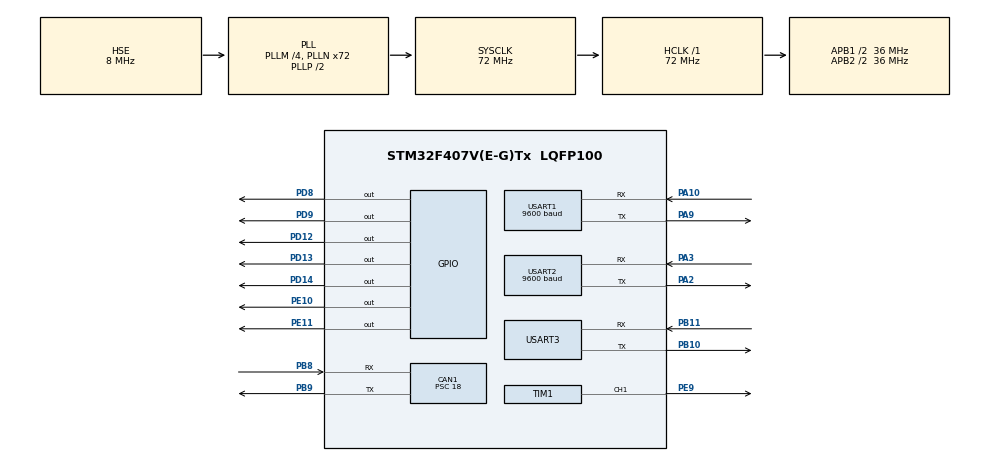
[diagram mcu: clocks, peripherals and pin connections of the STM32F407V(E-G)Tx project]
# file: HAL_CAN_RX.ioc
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CAN1.BS1=CAN_BS1_2TQ
CAN1.CalculateBaudRate=500000
CAN1.CalculateTimeBit=2000
CAN1.CalculateTimeQuantum=500.0
CAN1.Prescaler=18
Mcu.Family=STM32F4
Mcu.Name=STM32F407V(E-G)Tx
Mcu.Package=LQFP100
NVIC.CAN1_RX0_IRQn=true\:0\:0\:false\:false\:true\:true\:true\:true
NVIC.PriorityGroup=NVIC_PRIORITYGROUP_0
PA10.Mode=Asynchronous
PA10.Signal=USART1_RX
PA2.Mode=Asynchronous
PA2.Signal=USART2_TX
PA3.Mode=Asynchronous
PA3.Signal=USART2_RX
PA9.Mode=Asynchronous
PA9.Signal=USART1_TX
PB10.Mode=Asynchronous
PB10.Signal=USART3_TX
PB11.Mode=Asynchronous
PB11.Signal=USART3_RX
PB8.Mode=CAN_Activate
PB8.Signal=CAN1_RX
PB9.Mode=CAN_Activate
PB9.Signal=CAN1_TX
PD12.Signal=GPIO_Output
PD13.Signal=GPIO_Output
PD14.Signal=GPIO_Output
PD8.Signal=GPIO_Output
PD9.Signal=GPIO_Output
PE10.Signal=GPIO_Output
PE11.Signal=GPIO_Output
PE9.Signal=S_TIM1_CH1
PH0-OSC_IN.Mode=HSE-External-Oscillator
PH0-OSC_IN.Signal=RCC_OSC_IN
PH1-OSC_OUT.Mode=HSE-External-Oscillator
PH1-OSC_OUT.Signal=RCC_OSC_OUT
ProjectManager.HeapSize=0x200
ProjectManager.StackSize=0x400
ProjectManager.TargetToolchain=STM32CubeIDE
RCC.48MHZClocksFreq_Value=20571428.57142857
RCC.AHBFreq_Value=72000000
RCC.APB1CLKDivider=RCC_HCLK_DIV2
RCC.APB1Freq_Value=36000000
RCC.APB1TimFreq_Value=72000000
RCC.APB2CLKDivider=RCC_HCLK_DIV2
RCC.APB2Freq_Value=36000000
RCC.APB2TimFreq_Value=72000000
RCC.CortexFreq_Value=72000000
RCC.HCLKFreq_Value=72000000
RCC.HSE_VALUE=8000000
RCC.HSI_VALUE=16000000
RCC.LSE_VALUE=32768
RCC.PLLM=4
RCC.PLLN=72
RCC.PLLQ=7
RCC.PLLSourceVirtual=RCC_PLLSOURCE_HSE
RCC.SYSCLKFreq_VALUE=72000000
RCC.SYSCLKSource=RCC_SYSCLKSOURCE_PLLCLK
RCC.VCOOutputFreq_Value=144000000
SH.S_TIM1_CH1.0=TIM1_CH1,PWM Generation1 CH1
TIM1.AutoReloadPreload=TIM_AUTORELOAD_PRELOAD_ENABLE
TIM1.Channel-PWM\ Generation1\ CH1=TIM_CHANNEL_1
TIM1.Period=100-1
TIM1.Prescaler=16-1
USART1.BaudRate=9600
USART1.VirtualMode=VM_ASYNC
USART2.BaudRate=9600
USART2.VirtualMode=VM_ASYNC
USART3.VirtualMode=VM_ASYNC
board=STM32F407G-DISC1

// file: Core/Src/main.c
/* USER CODE BEGIN Header */
/**
  ******************************************************************************
  * @file           : main.c
  * @brief          : Main program body
  ******************************************************************************
  * @attention
  *
  * Copyright (c) 2026 STMicroelectronics.
  * All rights reserved.
  *
  * This software is licensed under terms that can be found in the LICENSE file
  * in the root directory of this software component.
  * If no LICENSE file comes with this software, it is provided AS-IS.
  *
  ******************************************************************************
  */
/* USER CODE END Header */
#include "main.h"

/* USER CODE BEGIN Includes */
#include<stdio.h>
#include<string.h>
/* USER CODE END Includes */

/* USER CODE BEGIN PD */
#define GPS_BUF_SIZE 128
/* USER CODE END PD */

CAN_HandleTypeDef hcan1;

TIM_HandleTypeDef htim1;

UART_HandleTypeDef huart1;
UART_HandleTypeDef huart2;
UART_HandleTypeDef huart3;

void SystemClock_Config(void);
static void MX_GPIO_Init(void);
static void MX_CAN1_Init(void);
static void MX_TIM1_Init(void);
static void MX_USART2_UART_Init(void);
static void MX_USART3_UART_Init(void);
static void MX_USART1_UART_Init(void);

/* USER CODE BEGIN 0 */
CAN_RxHeaderTypeDef RxHeader;
uint8_t RxData[8];
uint8_t is_data_received;
uint16_t distance;
uint16_t speed;
uint16_t gas;
uint8_t gps_rx;
char gps_buffer[GPS_BUF_SIZE];
uint8_t gps_index = 0;

void HAL_CAN_RxFifo0MsgPendingCallback(CAN_HandleTypeDef *hcan)
{
	if(HAL_CAN_GetRxMessage(hcan, CAN_RX_FIFO0, &RxHeader, RxData) == HAL_OK)
	{
		// process the message
        if (RxHeader.DLC == 5) {
        	is_data_received = 1;
        }
	}
}

/* USER CODE END 0 */

int main(void)
{

  /* USER CODE BEGIN 1 */

	 char str[256];
	 char *str2 = "      >>>>>>>>>>>>>>>>>>>>>>>>> DATA <<<<<<<<<<<<<<<<<<<<<<<<<\r\n";
  /* USER CODE END 1 */

  /* MCU Configuration--------------------------------------------------------*/

  /* Reset of all peripherals, Initializes the Flash interface and the Systick. */
  HAL_Init();

  /* Configure the system clock */
  SystemClock_Config();

  /* Initialize all configured peripherals */
  MX_GPIO_Init();
  MX_CAN1_Init();
  MX_TIM1_Init();
  MX_USART2_UART_Init();
  MX_USART3_UART_Init();
  MX_USART1_UART_Init();
  /* USER CODE BEGIN 2 */
    HAL_CAN_Start(&hcan1);
    HAL_CAN_ActivateNotification(&hcan1, CAN_IT_RX_FIFO0_MSG_PENDING);
    HAL_TIM_PWM_Start(&htim1, TIM_CHANNEL_1);
    HAL_UART_Transmit(&huart2, (uint8_t *)str2, strlen(str2), HAL_MAX_DELAY);
  /* USER CODE END 2 */

  /* Infinite loop */
  while (1)
  {

    /* USER CODE BEGIN 3 */
	   /* GPS Receive always */
	  if (HAL_UART_Receive(&huart1, &gps_rx, 1, 10) == HAL_OK)
	     {
	         gps_buffer[gps_index++] = gps_rx;

	         if (gps_rx == '\n' || gps_index >= GPS_BUF_SIZE-1)
	         {
	             gps_buffer[gps_index] = '\0';

	             // Send GPS to ESP8266 (USART3)
	             sprintf(str, "GPS,%s", gps_buffer);
	             HAL_UART_Transmit(&huart3, (uint8_t*)str, strlen(str), HAL_MAX_DELAY);

	             // Debug on PC
	             HAL_UART_Transmit(&huart2, (uint8_t*)gps_buffer, gps_index, HAL_MAX_DELAY);

	             gps_index = 0;
	         }
	     }

	  if(is_data_received == 1)
	 	 {
	 		 strcpy(str,"------------------------------------------------------------- \r\n");
	 		 HAL_UART_Transmit(&huart2, (uint8_t *)str, strlen(str), HAL_MAX_DELAY);
	           distance = (uint16_t)RxData[0] << 8 | (uint16_t)RxData[1];
	           uint16_t temperature = (uint16_t)RxData[2] << 8 | (uint16_t)RxData[3];
	           uint8_t gas = RxData[4];   // 0 = No gas, 1 = Gas detected

	           sprintf(str, "CAN,%d,%d,%d\n", distance, temperature, gas);
	           HAL_UART_Transmit(&huart3, (uint8_t*)str, strlen(str), HAL_MAX_DELAY);

	           sprintf(str, " Distance : %d cm \r \n", distance);
	       	  HAL_UART_Transmit(&huart2, (uint8_t *)str, strlen(str), HAL_MAX_DELAY);

	       	  sprintf(str, " Temperature : %d degree \r \n", temperature);
	       	  HAL_UART_Transmit(&huart2, (uint8_t *)str, strlen(str), HAL_MAX_DELAY);

	       	if(gas)
	       	    sprintf(str, " Gas Status : GAS DETECTED !!! \r\n");
	       	else
	       	    sprintf(str, " Gas Status : Safe \r\n");

	       	HAL_UART_Transmit(&huart2, (uint8_t *)str, strlen(str), HAL_MAX_DELAY);

	          if(distance <20)
	          {
		          HAL_GPIO_WritePin(GPIOD, GPIO_PIN_12, GPIO_PIN_SET);
	          }
	          else
	          {
		          HAL_GPIO_WritePin(GPIOD, GPIO_PIN_12, GPIO_PIN_RESET);

	          }

	          if(temperature > 100 )
	          {
	        	  HAL_GPIO_WritePin(GPIOD, GPIO_PIN_13, GPIO_PIN_SET);
	          }
	          else
	          {
	        	  HAL_GPIO_WritePin(GPIOD, GPIO_PIN_13,GPIO_PIN_SET);
	          }

           HAL_Delay(500);

  }
  /* USER CODE END 3 */
}

}

void SystemClock_Config(void)
{
  RCC_OscInitTypeDef RCC_OscInitStruct = {0};
  RCC_ClkInitTypeDef RCC_ClkInitStruct = {0};

  /** Configure the main internal regulator output voltage
  */
  __HAL_RCC_PWR_CLK_ENABLE();
  __HAL_PWR_VOLTAGESCALING_CONFIG(PWR_REGULATOR_VOLTAGE_SCALE1);

  /** Initializes the RCC Oscillators according to the specified parameters
  * in the RCC_OscInitTypeDef structure.
  */
  RCC_OscInitStruct.OscillatorType = RCC_OSCILLATORTYPE_HSE;
  RCC_OscInitStruct.HSEState = RCC_HSE_ON;
  RCC_OscInitStruct.PLL.PLLState = RCC_PLL_ON;
  RCC_OscInitStruct.PLL.PLLSource = RCC_PLLSOURCE_HSE;
  RCC_OscInitStruct.PLL.PLLM = 4;
  RCC_OscInitStruct.PLL.PLLN = 72;
  RCC_OscInitStruct.PLL.PLLP = RCC_PLLP_DIV2;
  RCC_OscInitStruct.PLL.PLLQ = 7;
  if (HAL_RCC_OscConfig(&RCC_OscInitStruct) != HAL_OK)
  {
    Error_Handler();
  }

  /** Initializes the CPU, AHB and APB buses clocks
  */
  RCC_ClkInitStruct.ClockType = RCC_CLOCKTYPE_HCLK|RCC_CLOCKTYPE_SYSCLK
                              |RCC_CLOCKTYPE_PCLK1|RCC_CLOCKTYPE_PCLK2;
  RCC_ClkInitStruct.SYSCLKSource = RCC_SYSCLKSOURCE_PLLCLK;
  RCC_ClkInitStruct.AHBCLKDivider = RCC_SYSCLK_DIV1;
  RCC_ClkInitStruct.APB1CLKDivider = RCC_HCLK_DIV2;
  RCC_ClkInitStruct.APB2CLKDivider = RCC_HCLK_DIV2;

  if (HAL_RCC_ClockConfig(&RCC_ClkInitStruct, FLASH_LATENCY_2) != HAL_OK)
  {
    Error_Handler();
  }
}

static void MX_CAN1_Init(void)
{

  hcan1.Instance = CAN1;
  hcan1.Init.Prescaler = 18;
  hcan1.Init.Mode = CAN_MODE_NORMAL;
  hcan1.Init.SyncJumpWidth = CAN_SJW_1TQ;
  hcan1.Init.TimeSeg1 = CAN_BS1_2TQ;
  hcan1.Init.TimeSeg2 = CAN_BS2_1TQ;
  hcan1.Init.TimeTriggeredMode = DISABLE;
  hcan1.Init.AutoBusOff = DISABLE;
  hcan1.Init.AutoWakeUp = DISABLE;
  hcan1.Init.AutoRetransmission = DISABLE;
  hcan1.Init.ReceiveFifoLocked = DISABLE;
  hcan1.Init.TransmitFifoPriority = DISABLE;
  if (HAL_CAN_Init(&hcan1) != HAL_OK)
  {
    Error_Handler();
  }
  /* USER CODE BEGIN CAN1_Init 2 */
  CAN_FilterTypeDef FilterConfig;
   //FilterConfig.SlaveStartFilterBank = 9; // CAN1-0 to 8, CAN2-9 to 27
   FilterConfig.FilterActivation = CAN_FILTER_ENABLE;
   FilterConfig.FilterBank = 0; // Use any Filter from 0 to 8
   FilterConfig.FilterScale = CAN_FILTERSCALE_32BIT; // Use a 32-bit filter
   FilterConfig.FilterMode = CAN_FILTERMODE_IDMASK;
   FilterConfig.FilterMaskIdHigh = 0xFF00;
   FilterConfig.FilterMaskIdLow = 0x0000;
   FilterConfig.FilterIdHigh = 0x1500;
   FilterConfig.FilterIdLow = 0x0000;
   FilterConfig.FilterFIFOAssignment = CAN_RX_FIFO0;

   if(HAL_CAN_ConfigFilter(&hcan1, &FilterConfig) != HAL_OK)
 	  Error_Handler();
  /* USER CODE END CAN1_Init 2 */

}

static void MX_TIM1_Init(void)
{

  TIM_MasterConfigTypeDef sMasterConfig = {0};
  TIM_OC_InitTypeDef sConfigOC = {0};
  TIM_BreakDeadTimeConfigTypeDef sBreakDeadTimeConfig = {0};

  htim1.Instance = TIM1;
  htim1.Init.Prescaler = 16-1;
  htim1.Init.CounterMode = TIM_COUNTERMODE_UP;
  htim1.Init.Period = 100-1;
  htim1.Init.ClockDivision = TIM_CLOCKDIVISION_DIV1;
  htim1.Init.RepetitionCounter = 0;
  htim1.Init.AutoReloadPreload = TIM_AUTORELOAD_PRELOAD_ENABLE;
  if (HAL_TIM_PWM_Init(&htim1) != HAL_OK)
  {
    Error_Handler();
  }
  sMasterConfig.MasterOutputTrigger = TIM_TRGO_RESET;
  sMasterConfig.MasterSlaveMode = TIM_MASTERSLAVEMODE_DISABLE;
  if (HAL_TIMEx_MasterConfigSynchronization(&htim1, &sMasterConfig) != HAL_OK)
  {
    Error_Handler();
  }
  sConfigOC.OCMode = TIM_OCMODE_PWM1;
  sConfigOC.Pulse = 0;
  sConfigOC.OCPolarity = TIM_OCPOLARITY_HIGH;
  sConfigOC.OCNPolarity = TIM_OCNPOLARITY_HIGH;
  sConfigOC.OCFastMode = TIM_OCFAST_DISABLE;
  sConfigOC.OCIdleState = TIM_OCIDLESTATE_RESET;
  sConfigOC.OCNIdleState = TIM_OCNIDLESTATE_RESET;
  if (HAL_TIM_PWM_ConfigChannel(&htim1, &sConfigOC, TIM_CHANNEL_1) != HAL_OK)
  {
    Error_Handler();
  }
  sBreakDeadTimeConfig.OffStateRunMode = TIM_OSSR_DISABLE;
  sBreakDeadTimeConfig.OffStateIDLEMode = TIM_OSSI_DISABLE;
  sBreakDeadTimeConfig.LockLevel = TIM_LOCKLEVEL_OFF;
  sBreakDeadTimeConfig.DeadTime = 0;
  sBreakDeadTimeConfig.BreakState = TIM_BREAK_DISABLE;
  sBreakDeadTimeConfig.BreakPolarity = TIM_BREAKPOLARITY_HIGH;
  sBreakDeadTimeConfig.AutomaticOutput = TIM_AUTOMATICOUTPUT_DISABLE;
  if (HAL_TIMEx_ConfigBreakDeadTime(&htim1, &sBreakDeadTimeConfig) != HAL_OK)
  {
    Error_Handler();
  }
  HAL_TIM_MspPostInit(&htim1);

}

static void MX_USART1_UART_Init(void)
{

  huart1.Instance = USART1;
  huart1.Init.BaudRate = 9600;
  huart1.Init.WordLength = UART_WORDLENGTH_8B;
  huart1.Init.StopBits = UART_STOPBITS_1;
  huart1.Init.Parity = UART_PARITY_NONE;
  huart1.Init.Mode = UART_MODE_TX_RX;
  huart1.Init.HwFlowCtl = UART_HWCONTROL_NONE;
  huart1.Init.OverSampling = UART_OVERSAMPLING_16;
  if (HAL_UART_Init(&huart1) != HAL_OK)
  {
    Error_Handler();
  }

}

static void MX_USART2_UART_Init(void)
{

  huart2.Instance = USART2;
  huart2.Init.BaudRate = 9600;
  huart2.Init.WordLength = UART_WORDLENGTH_8B;
  huart2.Init.StopBits = UART_STOPBITS_1;
  huart2.Init.Parity = UART_PARITY_NONE;
  huart2.Init.Mode = UART_MODE_TX_RX;
  huart2.Init.HwFlowCtl = UART_HWCONTROL_NONE;
  huart2.Init.OverSampling = UART_OVERSAMPLING_16;
  if (HAL_UART_Init(&huart2) != HAL_OK)
  {
    Error_Handler();
  }

}

static void MX_USART3_UART_Init(void)
{

  huart3.Instance = USART3;
  huart3.Init.BaudRate = 115200;
  huart3.Init.WordLength = UART_WORDLENGTH_8B;
  huart3.Init.StopBits = UART_STOPBITS_1;
  huart3.Init.Parity = UART_PARITY_NONE;
  huart3.Init.Mode = UART_MODE_TX_RX;
  huart3.Init.HwFlowCtl = UART_HWCONTROL_NONE;
  huart3.Init.OverSampling = UART_OVERSAMPLING_16;
  if (HAL_UART_Init(&huart3) != HAL_OK)
  {
    Error_Handler();
  }

}

static void MX_GPIO_Init(void)
{
  GPIO_InitTypeDef GPIO_InitStruct = {0};

  /* GPIO Ports Clock Enable */
  __HAL_RCC_GPIOH_CLK_ENABLE();
  __HAL_RCC_GPIOA_CLK_ENABLE();
  __HAL_RCC_GPIOE_CLK_ENABLE();
  __HAL_RCC_GPIOB_CLK_ENABLE();
  __HAL_RCC_GPIOD_CLK_ENABLE();

  /*Configure GPIO pin Output Level */
  HAL_GPIO_WritePin(GPIOE, GPIO_PIN_10|GPIO_PIN_11, GPIO_PIN_RESET);

  /*Configure GPIO pin Output Level */
  HAL_GPIO_WritePin(GPIOD, GPIO_PIN_8|GPIO_PIN_9|GPIO_PIN_12|GPIO_PIN_13
                          |GPIO_PIN_14, GPIO_PIN_RESET);

  /*Configure GPIO pins : PE10 PE11 */
  GPIO_InitStruct.Pin = GPIO_PIN_10|GPIO_PIN_11;
  GPIO_InitStruct.Mode = GPIO_MODE_OUTPUT_PP;
  GPIO_InitStruct.Pull = GPIO_NOPULL;
  GPIO_InitStruct.Speed = GPIO_SPEED_FREQ_LOW;
  HAL_GPIO_Init(GPIOE, &GPIO_InitStruct);

  /*Configure GPIO pins : PD8 PD9 PD12 PD13
                           PD14 */
  GPIO_InitStruct.Pin = GPIO_PIN_8|GPIO_PIN_9|GPIO_PIN_12|GPIO_PIN_13
                          |GPIO_PIN_14;
  GPIO_InitStruct.Mode = GPIO_MODE_OUTPUT_PP;
  GPIO_InitStruct.Pull = GPIO_NOPULL;
  GPIO_InitStruct.Speed = GPIO_SPEED_FREQ_LOW;
  HAL_GPIO_Init(GPIOD, &GPIO_InitStruct);

}

void Error_Handler(void)
{
  __disable_irq();
  while (1)
  {
  }
}
